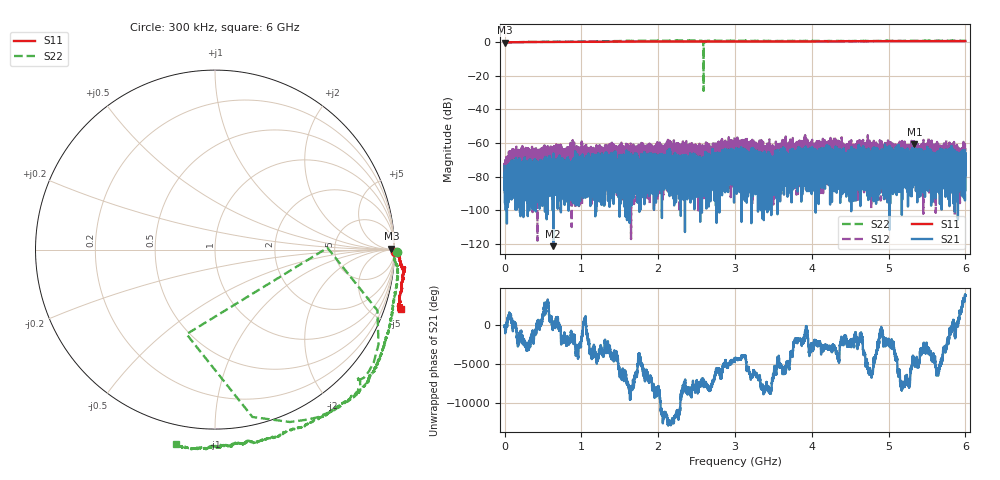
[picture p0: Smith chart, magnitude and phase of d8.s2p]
!Agilent Technologies,N5230C,SG49000117,A.08.50.07
!Agilent N5230C: A.08.50.07
!Date: Thursday, May 16, 2024 18:12:13
!Correction: S11(Full 2 Port(1,2))
!S21(Full 2 Port(1,2))
!S12(Full 2 Port(1,2))
!S22(Full 2 Port(1,2))
!S2P File: Measurements: S11, S21, S12, S22:
# Hz S  MA  R 50
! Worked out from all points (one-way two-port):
!   20001 points, 300 kHz to 6 GHz, reference 50 ohm
!   highest |S21| = -60.79 dB at 5.336 GHz (marker M1); lowest = -121.4 dB at 634.2 MHz (marker M2)
!   lowest |S11| = -0.1 dB at 600 kHz (marker M3), VSWR 116.48, Z = 5.33e+03 + j1.63e+03 ohm
!   |S11| at or under -10 dB: nowhere
!   |S22| runs from -28.9 to 1.1 dB; largest |S21 - S12| = 0.0019
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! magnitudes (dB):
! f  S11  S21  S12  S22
! 300 kHz  0.0  -73.6  -72.1  0.1
! 600 kHz  -0.1  -84.3  -73.5  -0.3
! 30.9 MHz  0.0  -81.1  -70.6  0.0
! 210 MHz  0.1  -83.3  -79.3  0.1
! 634.2 MHz  0.2  -121.4  -70.6  0.3
! 1 GHz  0.3  -74.4  -67.3  0.4
! 2 GHz  0.5  -69.9  -66.4  1.0
! 2.14 GHz  0.5  -67.0  -68.9  1.0
! 2.565 GHz  0.5  -72.0  -68.3  0.9
! 3 GHz  0.5  -78.1  -66.3  0.9
! 3.229 GHz  0.5  -63.1  -63.3  0.8
! 3.504 GHz  0.5  -70.1  -63.8  0.7
! 3.638 GHz  0.5  -73.7  -60.1  0.8
! 3.708 GHz  0.5  -78.1  -74.6  0.8
! 3.835 GHz  0.5  -69.8  -59.5  0.8
! 4 GHz  0.5  -75.0  -62.8  0.8
! 4.203 GHz  0.6  -67.4  -72.4  0.7
! 4.43 GHz  0.6  -67.1  -73.5  0.7
! 5 GHz  0.7  -66.1  -81.2  0.8
! 5.336 GHz  0.7  -60.8  -81.0  0.9
! 5.928 GHz  0.7  -67.4  -86.2  0.9
! 6 GHz  0.7  -66.4  -66.8  0.9
